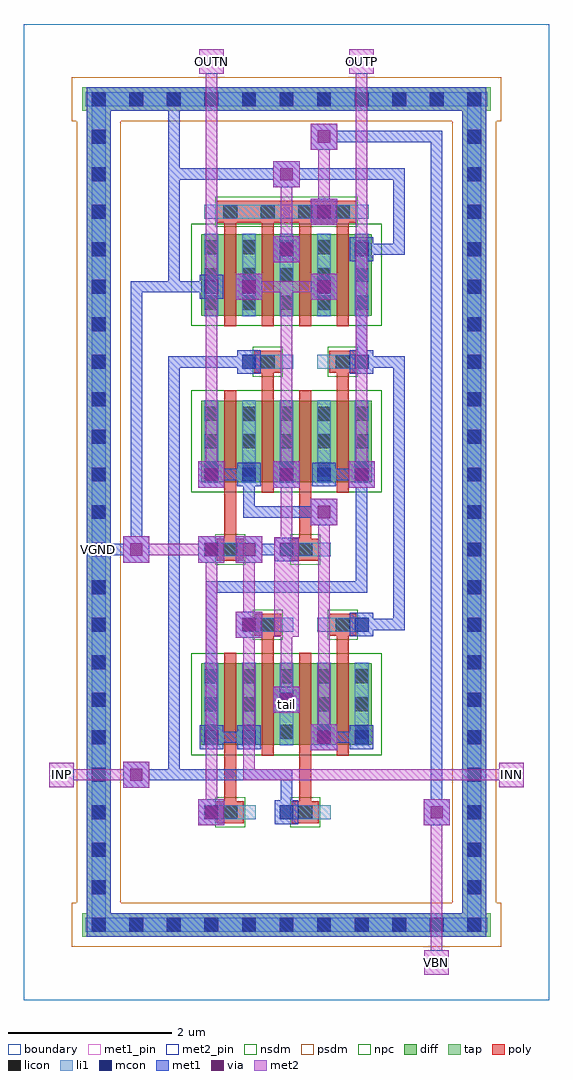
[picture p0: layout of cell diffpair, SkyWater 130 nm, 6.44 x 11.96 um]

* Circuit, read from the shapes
.subckt diffpair INN INP OUTN OUTP VBN VGND tail
XM1 OUTP VGND OUTP VGND sky130_fd_pr__nfet_01v8 w=1 l=0.15 m=2
XM2 OUTN VGND OUTN VGND sky130_fd_pr__nfet_01v8 w=1 l=0.15 m=2
XM3 tail VBN VGND VGND sky130_fd_pr__nfet_01v8 w=1 l=0.15 m=4
XM4 tail INN OUTP VGND sky130_fd_pr__nfet_01v8 w=1 l=0.15 m=2
XM5 tail INP OUTN VGND sky130_fd_pr__nfet_01v8 w=1 l=0.15 m=2
.ends

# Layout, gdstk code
import gdstk
lib = gdstk.Library(unit=1e-6, precision=1e-09)
def R(c, l, rs):  # rectangles x0, y0, x1, y1
    for r in rs: c.add(gdstk.rectangle(r[:2], r[2:], *l))
def A(c, l, x, y, w, h, nx, ny, dx, dy):  # array of equal rectangles
    R(c, l, [(x+i*dx, y+j*dy, x+i*dx+w, y+j*dy+h) for i in range(nx) for j in range(ny)])
diff = (65, 20)
tap = (65, 44)
poly = (66, 20)
licon = (66, 44)
li1 = (67, 20)
mcon = (67, 44)
met1_pin = (68, 16)
met1 = (68, 20)
via = (68, 44)
met2_pin = (69, 16)
met2 = (69, 20)
nsdm = (93, 44)
psdm = (94, 20)
npc = (95, 20)
boundary = (235, 4)

diffpair = lib.new_cell('diffpair')
R(diffpair, diff, [(2.175,3.125,4.265,4.125), (2.175,6.345,4.265,7.345), (2.175,8.385,4.265,9.385)])
R(diffpair, tap, [(0.715,0.775,5.725,1.065), (0.775,0.775,1.065,11.185), (5.375,0.775,5.665,11.185), (0.715,10.895,5.725,11.185)])
A(diffpair, poly, 2.455, 8.255, 0.15, 1.405, 4, 1, 0.46, 0)
R(diffpair, poly, [(2.365,2.165,2.695,2.435), (3.285,2.165,3.615,2.435), (2.455,2.3,2.605,4.255), (3.375,2.3,3.525,4.255), (2.915,2.995,3.065,4.6), (3.835,2.995,3.985,4.6), (2.825,4.465,3.155,4.735), (3.745,4.465,4.075,4.735), (2.365,5.385,2.695,5.655), (3.285,5.385,3.615,5.655), (2.455,5.52,2.605,7.475), (3.375,5.52,3.525,7.475), (2.915,6.215,3.065,7.82), (3.835,6.215,3.985,7.82), (2.825,7.685,3.155,7.955), (3.745,7.685,4.075,7.955), (2.365,9.525,4.075,9.795)])
A(diffpair, licon, 0.835, 0.835, 0.17, 0.17, 11, 2, 0.46, 10.12)
A(diffpair, licon, 0.835, 1.295, 0.17, 0.17, 1, 21, 0, 0.46)
A(diffpair, licon, 5.435, 1.295, 0.17, 0.17, 1, 21, 0, 0.46)
A(diffpair, licon, 2.215, 3.2, 0.17, 0.17, 5, 3, 0.46, 0.34)
A(diffpair, licon, 2.215, 6.42, 0.17, 0.17, 5, 3, 0.46, 0.34)
A(diffpair, licon, 2.215, 8.46, 0.17, 0.17, 5, 3, 0.46, 0.34)
A(diffpair, licon, 2.445, 9.575, 0.17, 0.17, 4, 1, 0.46, 0)
R(diffpair, licon, [(2.445,2.215,2.615,2.385), (3.365,2.215,3.535,2.385), (2.905,4.515,3.075,4.685), (3.825,4.515,3.995,4.685), (2.445,5.435,2.615,5.605), (3.365,5.435,3.535,5.605), (2.905,7.735,3.075,7.905), (3.825,7.735,3.995,7.905)])
A(diffpair, li1, 2.215, 3.12, 0.17, 1.01, 5, 2, 0.46, 3.22)
A(diffpair, li1, 2.215, 8.38, 0.17, 1.01, 5, 1, 0.46, 0)
R(diffpair, li1, [(0.755,0.835,5.685,1.005), (0.835,0.835,1.005,11.125), (5.435,0.835,5.605,11.125), (2.215,2.215,2.845,2.385), (3.135,2.215,3.765,2.385), (2.675,4.515,3.305,4.685), (3.595,4.515,4.225,4.685), (2.215,5.435,2.845,5.605), (3.135,5.435,3.765,5.605), (2.675,7.735,3.305,7.905), (3.595,7.735,4.225,7.905), (2.215,9.575,4.225,9.745), (0.755,10.955,5.685,11.125)])
A(diffpair, mcon, 0.835, 0.835, 0.17, 0.17, 11, 2, 0.46, 10.12)
A(diffpair, mcon, 0.835, 1.295, 0.17, 0.17, 1, 5, 0, 0.46)
A(diffpair, mcon, 5.435, 1.295, 0.17, 0.17, 1, 5, 0, 0.46)
A(diffpair, mcon, 0.835, 3.595, 0.17, 0.17, 3, 1, 2.3, 0)
A(diffpair, mcon, 0.835, 4.055, 0.17, 0.17, 1, 15, 0, 0.46)
A(diffpair, mcon, 2.675, 4.515, 0.17, 0.17, 3, 2, 1.38, 3.22)
A(diffpair, mcon, 5.435, 4.975, 0.17, 0.17, 1, 6, 0, 0.46)
A(diffpair, mcon, 2.215, 6.355, 0.17, 0.17, 5, 1, 0.46, 0)
A(diffpair, mcon, 5.435, 8.195, 0.17, 0.17, 1, 6, 0, 0.46)
R(diffpair, mcon, [(2.215,2.215,2.385,2.385), (3.135,2.215,3.305,2.385), (2.215,3.135,2.385,3.305), (2.675,3.135,2.845,3.305), (3.595,3.135,3.765,3.305), (4.055,3.135,4.225,3.305), (5.435,4.055,5.605,4.225), (2.215,5.435,2.385,5.605), (3.135,5.435,3.305,5.605), (2.215,8.655,2.385,8.825), (2.675,8.655,2.845,8.825), (3.595,8.655,3.765,8.825), (3.135,9.115,3.305,9.285), (4.055,9.115,4.225,9.285), (3.595,9.575,3.765,9.745)])
R(diffpair, met1_pin, [(0.85,5.45,0.99,5.59)])
A(diffpair, met1, 3.52, 3.06, 0.32, 0.32, 1, 3, 0, 2.76)
A(diffpair, met1, 2.14, 6.28, 0.32, 0.32, 3, 1, 0.92, 0)
A(diffpair, met1, 2.155, 6.295, 0.29, 0.29, 5, 1, 0.46, 0)
R(diffpair, met1, [(0.775,0.775,5.665,1.065), (0.775,0.775,1.065,11.185), (5.375,0.775,5.665,11.185), (2.14,2.14,2.46,2.46), (4.9,2.14,5.22,2.46), (2.155,2.155,2.445,2.445), (3.075,2.155,3.365,2.445), (3.15,2.23,3.29,2.83), (4.99,2.23,5.13,10.65), (1.22,2.6,1.54,2.92), (1.31,2.69,3.29,2.83), (1.77,2.69,1.91,7.89), (2.155,3.075,2.445,3.365), (2.615,3.075,2.905,3.365), (3.535,3.075,3.825,3.365), (3.995,3.075,4.285,3.365), (2.23,3.15,2.83,3.29), (2.23,3.15,2.37,5.13), (3.61,3.15,4.21,3.29), (3.06,3.52,3.38,3.84), (3.075,3.535,3.365,3.825), (2.6,4.44,2.92,4.76), (2.615,4.455,2.905,4.745), (3.995,4.455,4.285,4.745), (4.07,4.53,4.67,4.67), (4.53,4.53,4.67,7.89), (2.23,4.99,4.21,5.13), (4.07,4.99,4.21,6.51), (1.22,5.36,1.54,5.68), (2.14,5.36,2.46,5.68), (2.6,5.36,2.92,5.68), (2.155,5.375,2.445,5.665), (3.075,5.375,3.365,5.665), (0.85,5.45,1.45,5.59), (0.85,5.45,0.99,5.59), (1.31,5.45,1.45,8.81), (2.69,5.45,3.29,5.59), (2.69,5.91,3.75,6.05), (2.69,5.91,2.83,6.51), (2.23,6.37,2.83,6.51), (3.61,6.37,4.21,6.51), (2.615,7.675,2.905,7.965), (3.995,7.675,4.285,7.965), (1.77,7.75,2.83,7.89), (4.07,7.75,4.67,7.89), (4.07,7.75,4.21,9.27), (2.6,8.58,2.92,8.9), (2.155,8.595,2.445,8.885), (2.615,8.595,2.905,8.885), (3.535,8.595,3.825,8.885), (1.31,8.67,2.37,8.81), (1.77,8.67,1.91,11.11), (3.06,9.04,3.38,9.36), (3.075,9.055,3.365,9.345), (3.995,9.055,4.285,9.345), (4.07,9.13,4.67,9.27), (4.53,9.13,4.67,10.19), (3.52,9.5,3.84,9.82), (3.535,9.515,3.825,9.805), (3.06,9.96,3.38,10.28), (1.77,10.05,4.67,10.19), (3.52,10.42,3.84,10.74), (3.61,10.51,5.13,10.65), (0.775,10.895,5.665,11.185), (1.77,10.97,1.91,11.11)])
A(diffpair, via, 3.605, 3.145, 0.15, 0.15, 1, 3, 0, 2.76)
A(diffpair, via, 2.225, 6.365, 0.15, 0.15, 3, 1, 0.92, 0)
R(diffpair, via, [(2.225,2.225,2.375,2.375), (4.985,2.225,5.135,2.375), (1.305,2.685,1.455,2.835), (3.145,3.605,3.295,3.755), (2.685,4.525,2.835,4.675), (1.305,5.445,1.455,5.595), (2.225,5.445,2.375,5.595), (2.685,5.445,2.835,5.595), (2.685,8.665,2.835,8.815), (3.145,9.125,3.295,9.275), (3.605,9.585,3.755,9.735), (3.145,10.045,3.295,10.195), (3.605,10.505,3.755,10.655)])
R(diffpair, met2_pin, [(4.91,0.31,5.21,0.61), (0.31,2.61,0.61,2.91), (5.83,2.61,6.13,2.91), (2.15,11.35,2.45,11.65), (3.99,11.35,4.29,11.65)])
A(diffpair, met2, 3.52, 3.06, 0.32, 0.32, 1, 3, 0, 2.76)
A(diffpair, met2, 2.14, 6.28, 0.32, 0.32, 3, 1, 0.92, 0)
R(diffpair, met2, [(4.91,0.31,5.21,0.61), (4.99,0.39,5.13,0.53), (4.99,0.39,5.13,2.37), (2.14,2.14,2.46,2.46), (4.9,2.14,5.22,2.46), (2.23,2.23,2.37,5.59), (1.22,2.6,1.54,2.92), (0.31,2.61,0.61,2.91), (5.83,2.61,6.13,2.91), (0.39,2.69,0.53,2.83), (0.39,2.69,1.45,2.83), (2.69,2.69,2.83,4.67), (2.69,2.69,6.05,2.83), (5.91,2.69,6.05,2.83), (3.61,3.15,3.75,6.05), (3.06,3.52,3.38,3.84), (3.15,3.61,3.29,4.67), (2.6,4.44,2.92,4.76), (3.07,4.45,3.37,5.67), (2.69,4.53,2.83,5.59), (1.22,5.36,1.54,5.68), (2.14,5.36,2.46,5.68), (2.6,5.36,2.92,5.68), (1.31,5.45,2.37,5.59), (3.15,5.45,3.29,6.51), (2.23,6.37,2.37,11.57), (3.15,6.37,3.29,8.81), (4.07,6.37,4.21,11.57), (2.6,8.58,2.92,8.9), (2.69,8.67,3.29,8.81), (3.15,8.67,3.75,8.81), (3.06,9.04,3.38,9.36), (3.15,9.13,3.29,10.19), (3.52,9.5,3.84,9.82), (3.61,9.59,3.75,10.65), (3.06,9.96,3.38,10.28), (3.52,10.42,3.84,10.74), (2.15,11.35,2.45,11.65), (3.99,11.35,4.29,11.65), (2.23,11.43,2.37,11.57), (4.07,11.43,4.21,11.57)])
R(diffpair, nsdm, [(2.05,3,4.39,4.25), (2.05,6.22,4.39,7.47), (2.05,8.26,4.39,9.51)])
R(diffpair, psdm, [(0.59,0.65,5.85,1.19), (0.65,1.19,1.19,10.77), (5.25,1.19,5.79,10.77), (0.59,10.77,5.85,11.31)])
R(diffpair, npc, [(2.345,2.115,2.715,2.485), (3.265,2.115,3.635,2.485), (2.805,4.415,3.175,4.785), (3.725,4.415,4.095,4.785), (2.345,5.335,2.715,5.705), (3.265,5.335,3.635,5.705), (2.805,7.635,3.175,8.005), (3.725,7.635,4.095,8.005), (2.345,9.475,4.095,9.845)])
R(diffpair, boundary, [(0,0,6.44,11.96)])
diffpair.add(gdstk.Label('tail', (3.22,3.625), layer=67, texttype=5))
diffpair.add(gdstk.Label('VGND', (0.92,5.52), layer=68, texttype=5))
diffpair.add(gdstk.Label('INP', (0.46,2.76), layer=69, texttype=5))
diffpair.add(gdstk.Label('INN', (5.98,2.76), layer=69, texttype=5))
diffpair.add(gdstk.Label('VBN', (5.06,0.46), layer=69, texttype=5))
diffpair.add(gdstk.Label('OUTP', (4.14,11.5), layer=69, texttype=5))
diffpair.add(gdstk.Label('OUTN', (2.3,11.5), layer=69, texttype=5))
diffpair.add(gdstk.Label('VGND', (0.92,5.52), layer=68, texttype=16))
diffpair.add(gdstk.Label('INP', (0.46,2.76), layer=69, texttype=16))
diffpair.add(gdstk.Label('INN', (5.98,2.76), layer=69, texttype=16))
diffpair.add(gdstk.Label('VBN', (5.06,0.46), layer=69, texttype=16))
diffpair.add(gdstk.Label('OUTP', (4.14,11.5), layer=69, texttype=16))
diffpair.add(gdstk.Label('OUTN', (2.3,11.5), layer=69, texttype=16))

lib.write_gds('diffpair.gds')
